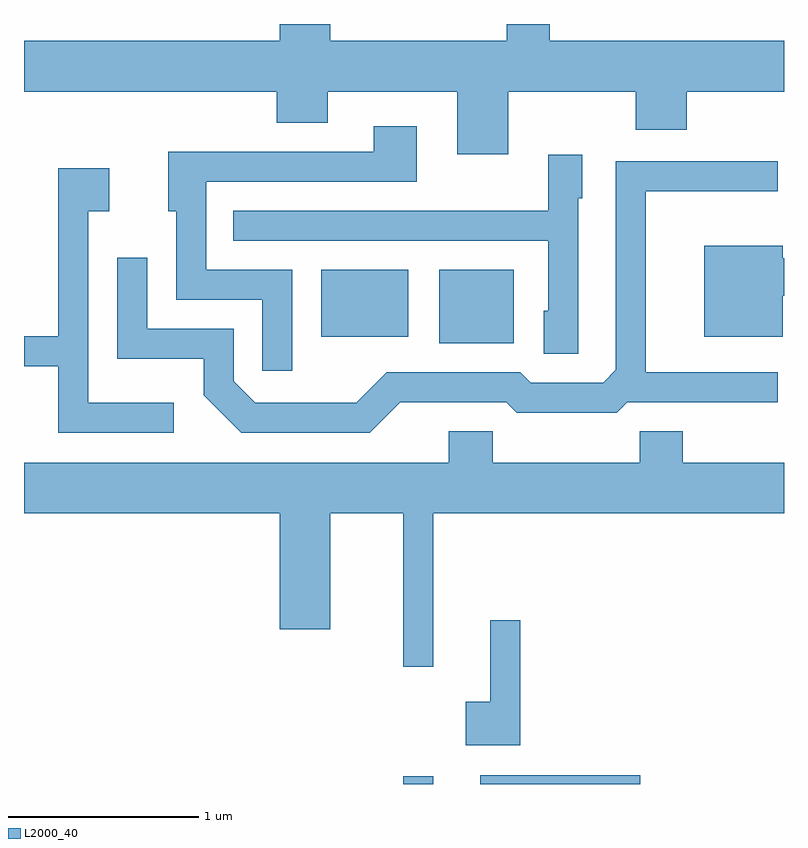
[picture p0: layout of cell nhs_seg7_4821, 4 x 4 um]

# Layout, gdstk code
import gdstk
lib = gdstk.Library(unit=1e-6, precision=1e-09)
def R(c, l, rs):  # rectangles x0, y0, x1, y1
    for r in rs: c.add(gdstk.rectangle(r[:2], r[2:], *l))
def P(c, l, *ps):  # polygons
    for p in ps: c.add(gdstk.Polygon(p, *l))
L2000_40 = (2000, 40)

nhs_seg7_4821 = lib.new_cell('nhs_seg7_4821')
R(nhs_seg7_4821, L2000_40, [(335.606,1686.252,335.764,1686.293), (336.011,1686.252,336.854,1686.299), (335.796,1688.571,336.189,1688.959), (335.176,1688.606,335.634,1688.959)])
P(nhs_seg7_4821, L2000_40, [(336.159,1689.896),(336.831,1689.896),(336.831,1689.696),(337.099,1689.696),(337.099,1689.896),(337.611,1689.896),(337.611,1690.164),(336.379,1690.164),(336.379,1690.252),(336.151,1690.252),(336.151,1690.164),(335.224,1690.164),(335.224,1690.252),(334.956,1690.252),(334.956,1690.164),(333.611,1690.164),(333.611,1689.896),(334.941,1689.896),(334.941,1689.731),(335.209,1689.731),(335.209,1689.896),(335.891,1689.896),(335.891,1689.566),(336.159,1689.566)],
  [(335.024,1688.959),(334.569,1688.959),(334.569,1689.421),(335.679,1689.421),(335.679,1689.714),(335.451,1689.714),(335.451,1689.579),(334.371,1689.579),(334.371,1689.266),(334.411,1689.266),(334.411,1688.801),(334.866,1688.801),(334.866,1688.428),(335.024,1688.428)],
  [(336.529,1689.336),(336.549,1689.336),(336.549,1689.564),(336.371,1689.564),(336.371,1689.269),(334.713,1689.269),(334.713,1689.111),(336.371,1689.111),(336.371,1688.744),(336.346,1688.744),(336.346,1688.516),(336.529,1688.516)],
  [(335.592,1688.261),(336.149,1688.261),(336.204,1688.206),(336.732,1688.206),(336.787,1688.261),(337.578,1688.261),(337.578,1688.419),(336.884,1688.419),(336.884,1689.371),(337.578,1689.371),(337.578,1689.529),(336.726,1689.529),(336.726,1688.432),(336.659,1688.364),(336.277,1688.364),(336.222,1688.419),(335.519,1688.419),(335.359,1688.259),(334.827,1688.259),(334.714,1688.372),(334.714,1688.649),(334.259,1688.649),(334.259,1689.023),(334.101,1689.023),(334.101,1688.491),(334.556,1688.491),(334.556,1688.299),(334.754,1688.101),(335.432,1688.101)],
  [(334.398,1688.259),(333.949,1688.259),(333.949,1689.266),(334.059,1689.266),(334.059,1689.494),(333.791,1689.494),(333.791,1688.609),(333.611,1688.609),(333.611,1688.451),(333.791,1688.451),(333.791,1688.101),(334.398,1688.101)],
  [(337.604,1688.821),(337.611,1688.821),(337.611,1689.019),(337.604,1689.019),(337.604,1689.084),(337.191,1689.084),(337.191,1688.606),(337.604,1688.606)],
  [(335.764,1687.676),(337.611,1687.676),(337.611,1687.944),(337.079,1687.944),(337.079,1688.109),(336.851,1688.109),(336.851,1687.944),(336.079,1687.944),(336.079,1688.109),(335.846,1688.109),(335.846,1687.944),(333.611,1687.944),(333.611,1687.676),(334.956,1687.676),(334.956,1687.066),(335.224,1687.066),(335.224,1687.676),(335.606,1687.676),(335.606,1686.868),(335.764,1686.868)],
  [(336.224,1687.113),(336.066,1687.113),(336.066,1686.684),(335.936,1686.684),(335.936,1686.456),(336.224,1686.456)])

lib.write_gds('nhs_seg7_4821.gds')
